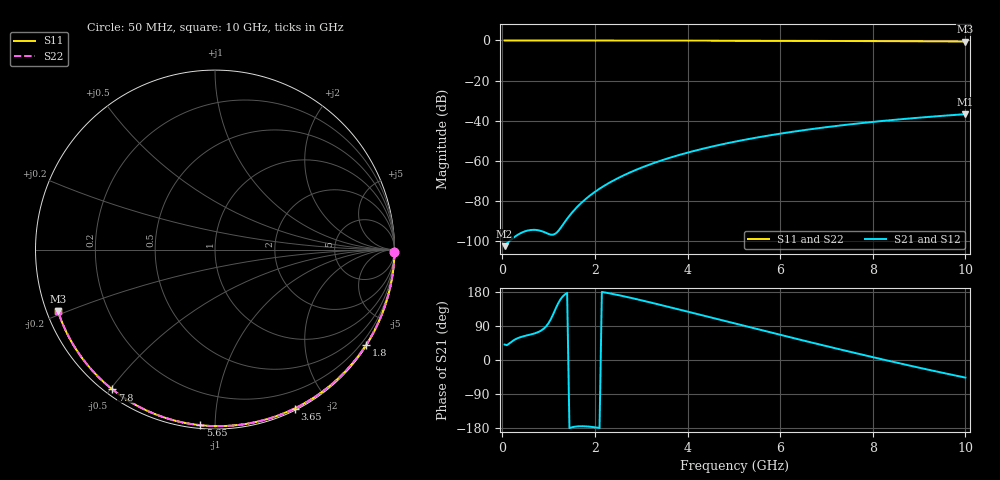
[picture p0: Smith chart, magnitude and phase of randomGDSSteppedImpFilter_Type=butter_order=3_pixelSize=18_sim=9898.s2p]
! freq	dB(S11)	phase(S11)	dB(S12)	phase(S12)
!  dB(S21)	phase(S21)	dB(S22)	phase(S22)
!S-par simulation data
#  GHz  S  DB  R 50
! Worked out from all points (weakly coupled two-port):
!   200 points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, 50 MHz to 10 GHz, reference 50 ohm
!   highest |S21| = -36.66 dB at 10 GHz (marker M1); lowest = -102.3 dB at 50 MHz (marker M2)
!   lowest |S11| = -0.5 dB at 10 GHz (marker M3), VSWR 32.21, Z = 1.61 - j9.46 ohm
!   |S11| at or under -10 dB: nowhere
!   |S22| runs from -0.5 to 0.0 dB; largest |S21 - S12| = 0
!   S11 on the Smith chart (normalised r, x): 50 MHz: open; 1.8 GHz: 0.03, -3.48; 3.65 GHz: 0.02, -1.62; 5.65 GHz: 0.02, -0.92; 7.8 GHz: 0.02, -0.51; 10 GHz: 0.03, -0.19
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0.05  -0.00 -0.9  -102.35 40.8  -102.35 40.8  -0.00 -0.9
0.85  -0.02 -15.3  -94.87 78.6  -94.87 78.6  -0.02 -15.3
1.3  -0.03 -23.3  -91.94 167.0  -91.94 167.0  -0.03 -23.3
1.75  -0.04 -31.2  -79.89 -174.9  -79.89 -174.9  -0.04 -31.2
1.8  -0.04 -32.1  -78.89 -175.1  -78.89 -175.1  -0.04 -32.1
1.95  -0.04 -34.7  -76.17 -176.8  -76.17 -176.8  -0.04 -34.7
2.1  -0.05 -37.3  -73.77 -179.4  -73.77 -179.4  -0.05 -37.3
2.3  -0.05 -40.8  -70.95 176.3  -70.95 176.3  -0.05 -40.8
2.5  -0.06 -44.2  -68.47 171.4  -68.47 171.4  -0.06 -44.2
2.9  -0.07 -51.0  -64.26 160.5  -64.26 160.5  -0.07 -51.0
3.4  -0.08 -59.3  -59.97 145.9  -59.97 145.9  -0.08 -59.3
3.65  -0.09 -63.4  -58.13 138.4  -58.13 138.4  -0.09 -63.4
4.3  -0.11 -73.9  -54.04 118.5  -54.04 118.5  -0.11 -73.9
5.05  -0.13 -85.6  -50.23 95.4  -50.23 95.4  -0.13 -85.6
5.65  -0.16 -94.7  -47.69 77.1  -47.69 77.1  -0.16 -94.7
6.15  -0.18 -102.2  -45.84 61.9  -45.84 61.9  -0.18 -102.2
6.7  -0.22 -110.3  -44.03 45.5  -44.03 45.5  -0.22 -110.3
7.25  -0.25 -118.3  -42.42 29.2  -42.42 29.2  -0.25 -118.3
7.8  -0.30 -126.3  -41.00 13.2  -41.00 13.2  -0.30 -126.3
8.35  -0.35 -134.2  -39.73 -2.4  -39.73 -2.4  -0.35 -134.2
9.2  -0.44 -146.6  -38.03 -25.7  -38.03 -25.7  -0.44 -146.6
10  -0.54 -158.6  -36.66 -46.4  -36.66 -46.4  -0.54 -158.6
